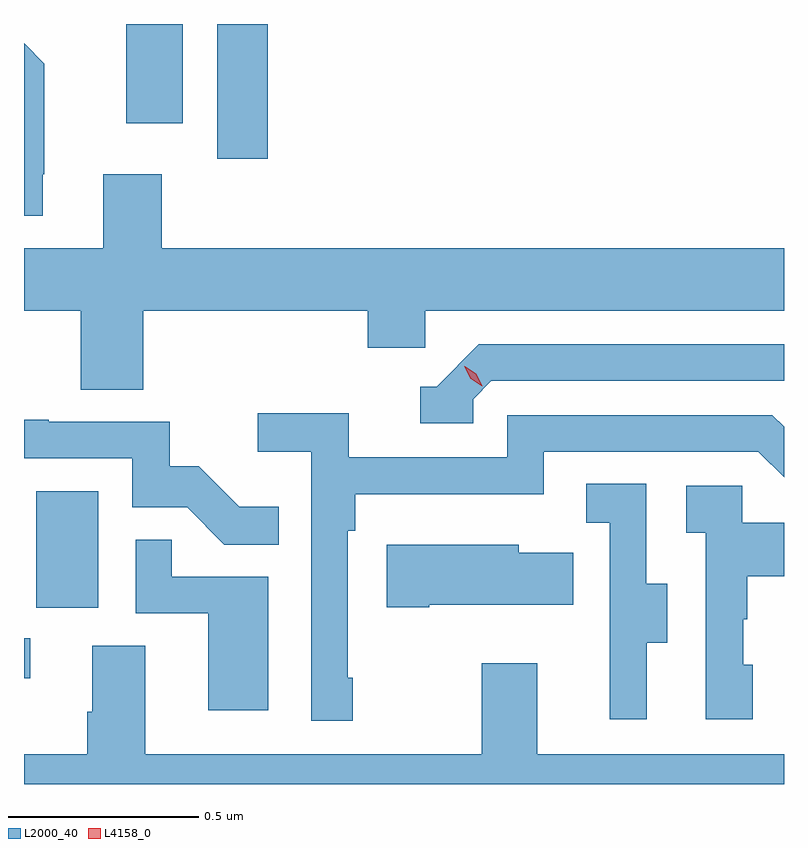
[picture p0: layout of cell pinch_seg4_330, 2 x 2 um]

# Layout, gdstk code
import gdstk
lib = gdstk.Library(unit=1e-6, precision=1e-09)
def R(c, l, rs):  # rectangles x0, y0, x1, y1
    for r in rs: c.add(gdstk.rectangle(r[:2], r[2:], *l))
def P(c, l, *ps):  # polygons
    for p in ps: c.add(gdstk.Polygon(p, *l))
L2000_40 = (2000, 40)
L4158_0 = (4158, 0)

pinch_seg4_330 = lib.new_cell('pinch_seg4_330')
R(pinch_seg4_330, L2000_40, [(902.772,798.516,902.788,798.621), (902.804,798.702,902.968,799.009), (903.281,799.884,903.413,800.238), (903.041,799.977,903.19,800.238)])
P(pinch_seg4_330, L2000_40, [(902.821,799.843),(902.825,799.843),(902.825,800.134),(902.772,800.187),(902.772,799.733),(902.821,799.733)],
  [(903.086,799.484),(903.677,799.484),(903.677,799.386),(903.828,799.386),(903.828,799.484),(904.772,799.484),(904.772,799.648),(903.134,799.648),(903.134,799.843),(902.981,799.843),(902.981,799.648),(902.772,799.648),(902.772,799.484),(902.921,799.484),(902.921,799.276),(903.086,799.276)],
  [(903.954,799.251),(904.002,799.299),(904.772,799.299),(904.772,799.395),(903.969,799.395),(903.858,799.284),(903.815,799.284),(903.815,799.188),(903.954,799.188)],
  [(903.637,798.517),(903.624,798.517),(903.624,798.905),(903.644,798.905),(903.644,799.001),(904.14,799.001),(904.14,799.113),(904.704,799.113),(904.772,799.045),(904.772,799.178),(904.741,799.209),(904.044,799.209),(904.044,799.098),(903.626,799.098),(903.626,799.214),(903.387,799.214),(903.387,799.112),(903.528,799.112),(903.528,798.405),(903.637,798.405)],
  [(903.443,798.967),(903.339,798.967),(903.232,799.074),(903.156,799.074),(903.156,799.191),(902.837,799.191),(902.837,799.196),(902.772,799.196),(902.772,799.095),(903.057,799.095),(903.057,798.966),(903.201,798.966),(903.299,798.868),(903.443,798.868)],
  [(904.411,798.61),(904.465,798.61),(904.465,798.765),(904.41,798.765),(904.41,799.028),(904.251,799.028),(904.251,798.925),(904.314,798.925),(904.314,798.621),(904.313,798.621),(904.313,798.408),(904.411,798.408)],
  [(904.69,798.552),(904.665,798.552),(904.665,798.671),(904.675,798.671),(904.675,798.785),(904.772,798.785),(904.772,798.925),(904.662,798.925),(904.662,799.023),(904.515,799.023),(904.515,798.899),(904.566,798.899),(904.566,798.408),(904.69,798.408)],
  [(903.415,798.783),(903.161,798.783),(903.161,798.881),(903.066,798.881),(903.066,798.687),(903.257,798.687),(903.257,798.432),(903.415,798.432)],
  [(903.838,798.71),(904.217,798.71),(904.217,798.847),(904.074,798.847),(904.074,798.868),(903.726,798.868),(903.726,798.703),(903.838,798.703)],
  [(904.772,798.316),(904.123,798.316),(904.123,798.556),(903.976,798.556),(903.976,798.316),(903.091,798.316),(903.091,798.602),(902.951,798.602),(902.951,798.428),(902.939,798.428),(902.939,798.316),(902.772,798.316),(902.772,798.238),(904.772,798.238)])
P(pinch_seg4_330, L4158_0, [(903.978,799.285),(903.947,799.305),(903.931,799.337),(903.931,799.338),(903.932,799.338),(903.962,799.318),(903.978,799.286),(903.978,799.285)])

lib.write_gds('pinch_seg4_330.gds')
